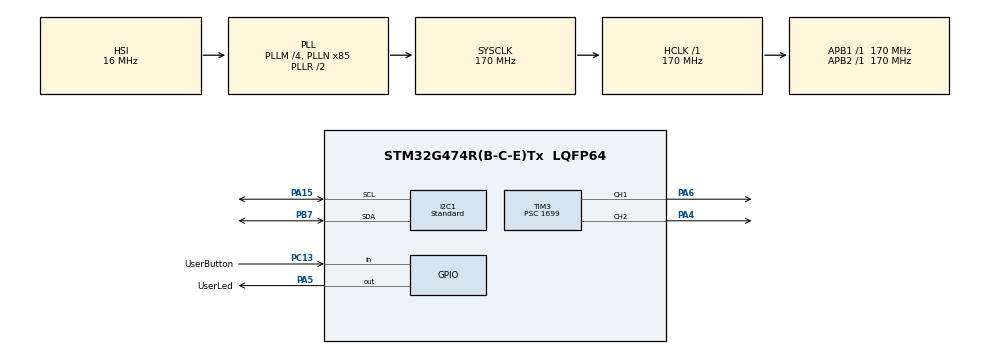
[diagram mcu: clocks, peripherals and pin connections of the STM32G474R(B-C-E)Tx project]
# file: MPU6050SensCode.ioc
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I2C1.I2C_Speed_Mode=I2C_Standard
I2C1.Timing=0x40B285C2
Mcu.Family=STM32G4
Mcu.Name=STM32G474R(B-C-E)Tx
Mcu.Package=LQFP64
NVIC.PriorityGroup=NVIC_PRIORITYGROUP_4
PA13.Mode=Serial_Wire
PA13.Signal=SYS_JTMS-SWDIO
PA14.Mode=Serial_Wire
PA14.Signal=SYS_JTCK-SWCLK
PA15.GPIO_Speed=GPIO_SPEED_FREQ_VERY_HIGH
PA15.Mode=I2C
PA15.Signal=I2C1_SCL
PA4.Signal=S_TIM3_CH2
PA5.GPIO_Label=UserLed
PA5.Signal=GPIO_Output
PA6.Signal=S_TIM3_CH1
PB7.GPIO_Speed=GPIO_SPEED_FREQ_VERY_HIGH
PB7.Mode=I2C
PB7.Signal=I2C1_SDA
PC13.GPIO_Label=UserButton
PC13.Signal=GPIO_Input
PC14-OSC32_IN.Mode=LSE-External-Oscillator
PC14-OSC32_IN.Signal=RCC_OSC32_IN
PC15-OSC32_OUT.Mode=LSE-External-Oscillator
PC15-OSC32_OUT.Signal=RCC_OSC32_OUT
PF0-OSC_IN.Mode=HSE-External-Oscillator
PF0-OSC_IN.Signal=RCC_OSC_IN
PF1-OSC_OUT.Mode=HSE-External-Oscillator
PF1-OSC_OUT.Signal=RCC_OSC_OUT
ProjectManager.HeapSize=0x200
ProjectManager.StackSize=0x400
ProjectManager.TargetToolchain=STM32CubeIDE
RCC.ADC12Freq_Value=170000000
RCC.ADC345Freq_Value=170000000
RCC.AHBFreq_Value=170000000
RCC.APB1Freq_Value=170000000
RCC.APB1TimFreq_Value=170000000
RCC.APB2Freq_Value=170000000
RCC.APB2TimFreq_Value=170000000
RCC.CortexFreq_Value=170000000
RCC.EXTERNAL_CLOCK_VALUE=12288000
RCC.HCLKFreq_Value=170000000
RCC.HSE_VALUE=8000000
RCC.HSI48_VALUE=48000000
RCC.HSI_VALUE=16000000
RCC.PLLM=RCC_PLLM_DIV4
RCC.PLLN=85
RCC.SYSCLKFreq_VALUE=170000000
RCC.SYSCLKSource=RCC_SYSCLKSOURCE_PLLCLK
RCC.USBFreq_Value=170000000
RCC.VCOOutputFreq_Value=340000000
SH.S_TIM3_CH1.0=TIM3_CH1,PWM Generation1 CH1
SH.S_TIM3_CH2.0=TIM3_CH2,PWM Generation2 CH2
TIM3.Channel-PWM\ Generation1\ CH1=TIM_CHANNEL_1
TIM3.Channel-PWM\ Generation2\ CH2=TIM_CHANNEL_2
TIM3.PeriodNoDither=1999
TIM3.Prescaler=1699
VP_SYS_VS_DBSignals.Mode=DisableDeadBatterySignals
VP_TIM3_VS_ClockSourceINT.Mode=Internal
board=custom

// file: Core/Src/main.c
/* USER CODE BEGIN Header */
/**
  ******************************************************************************
  * @file           : main.c
  * @brief          : Main program body
  ******************************************************************************
  * @attention
  *
  * Copyright (c) 2025 STMicroelectronics.
  * All rights reserved.
  *
  * This software is licensed under terms that can be found in the LICENSE file
  * in the root directory of this software component.
  * If no LICENSE file comes with this software, it is provided AS-IS.
  *
  ******************************************************************************
  */
/* USER CODE END Header */
#include "main.h"
#include "i2c.h"
#include "tim.h"
#include "gpio.h"

/* USER CODE BEGIN Includes */
#include "MPU_V2.1.h"
/* USER CODE END Includes */

/* USER CODE BEGIN PV */
Accel_Gyro MPU6050;
Temperature temp;

uint16_t MotorOneValue = 120;
uint16_t MotorTwoValue = 120;

float kp = 1.3;    // P
float ki = 0.0023;  // I
float kd = 0.002;    // D (örnek değerle başlıyoruz)

float setPoint = 0.0;
float error = 0.0;
float integral = 0.0;
float integralIn = 50;
float derivative = 0.0;
float lastError = 0.0;
float output = 0.0;

int16_t motorBaseSpeed = 110; // Dengede çalışılan sabit hız
float pitch = 0.0;

uint32_t TimeLed = 0;

uint16_t Motor1Max = 170;
uint16_t Motor1Min = 106;

uint16_t Motor2Max = 150;
uint16_t Motor2Min = 106;

uint32_t lastTime = 0;
uint32_t loopInterval = 10; // 10 ms

/* USER CODE END PV */

void SystemClock_Config(void);

int main(void)
{

  /* MCU Configuration--------------------------------------------------------*/

  /* Reset of all peripherals, Initializes the Flash interface and the Systick. */
  HAL_Init();

  /* Configure the system clock */
  SystemClock_Config();

  /* Initialize all configured peripherals */
  MX_GPIO_Init();
  MX_I2C1_Init();
  MX_TIM3_Init();
  /* USER CODE BEGIN 2 */
  MPU6050_Init(&MPU6050, FS_500, AFS_4G);

  HAL_TIM_PWM_Start(&htim3, TIM_CHANNEL_1);
  HAL_TIM_PWM_Start(&htim3, TIM_CHANNEL_2);

  /*
   * Motor Calib Ayarları
   */

  __HAL_TIM_SET_COMPARE(&htim3, TIM_CHANNEL_1, 200);
  __HAL_TIM_SET_COMPARE(&htim3, TIM_CHANNEL_2, 200);
  HAL_Delay(2000);
  __HAL_TIM_SET_COMPARE(&htim3, TIM_CHANNEL_1, 100);
  __HAL_TIM_SET_COMPARE(&htim3, TIM_CHANNEL_2, 100);
  HAL_Delay(2000);

  /* USER CODE END 2 */

  /* Infinite loop */
  while (1)
  {

    /* USER CODE BEGIN 3 */

	  if (HAL_GetTick() - lastTime >= loopInterval)
	  {
		   MPU6050_Start(&MPU6050, &temp);

		    error = setPoint - MPU6050.Pitch;
		    integral += error;

		    // Integral windup sınırı
		    if (integral > integralIn) integral = integralIn;
		    if (integral < -1 * integralIn) integral = -1 * integralIn;

		    // Derivative hesapla
		    derivative = error - lastError;
		    lastError = error;

		    // PID toplam çıkış
		    output = kp * error + ki * integral + kd * derivative;

		    MotorOneValue = motorBaseSpeed + output;
		    MotorTwoValue = motorBaseSpeed - output;

		    if (MotorOneValue > Motor1Max) MotorOneValue = Motor1Max;
		    if (MotorOneValue < Motor1Min) MotorOneValue = Motor1Min;

		    if (MotorTwoValue > Motor2Max) MotorTwoValue = Motor2Max;
		    if (MotorTwoValue < Motor2Min) MotorTwoValue = Motor2Min;

		    TIM3->CCR1 = MotorOneValue;
		    TIM3->CCR2 = MotorTwoValue;

		    if(uwTick - TimeLed > 500)
		    {
		    	HAL_GPIO_TogglePin(UserLed_GPIO_Port, UserLed_Pin);
		    	TimeLed = uwTick;
		    }

		    lastTime = HAL_GetTick();
	  }

  }
  /* USER CODE END 3 */
}

void SystemClock_Config(void)
{
  RCC_OscInitTypeDef RCC_OscInitStruct = {0};
  RCC_ClkInitTypeDef RCC_ClkInitStruct = {0};

  /** Configure the main internal regulator output voltage
  */
  HAL_PWREx_ControlVoltageScaling(PWR_REGULATOR_VOLTAGE_SCALE1_BOOST);

  /** Initializes the RCC Oscillators according to the specified parameters
  * in the RCC_OscInitTypeDef structure.
  */
  RCC_OscInitStruct.OscillatorType = RCC_OSCILLATORTYPE_HSI;
  RCC_OscInitStruct.HSIState = RCC_HSI_ON;
  RCC_OscInitStruct.HSICalibrationValue = RCC_HSICALIBRATION_DEFAULT;
  RCC_OscInitStruct.PLL.PLLState = RCC_PLL_ON;
  RCC_OscInitStruct.PLL.PLLSource = RCC_PLLSOURCE_HSI;
  RCC_OscInitStruct.PLL.PLLM = RCC_PLLM_DIV4;
  RCC_OscInitStruct.PLL.PLLN = 85;
  RCC_OscInitStruct.PLL.PLLP = RCC_PLLP_DIV2;
  RCC_OscInitStruct.PLL.PLLQ = RCC_PLLQ_DIV2;
  RCC_OscInitStruct.PLL.PLLR = RCC_PLLR_DIV2;
  if (HAL_RCC_OscConfig(&RCC_OscInitStruct) != HAL_OK)
  {
    Error_Handler();
  }

  /** Initializes the CPU, AHB and APB buses clocks
  */
  RCC_ClkInitStruct.ClockType = RCC_CLOCKTYPE_HCLK|RCC_CLOCKTYPE_SYSCLK
                              |RCC_CLOCKTYPE_PCLK1|RCC_CLOCKTYPE_PCLK2;
  RCC_ClkInitStruct.SYSCLKSource = RCC_SYSCLKSOURCE_PLLCLK;
  RCC_ClkInitStruct.AHBCLKDivider = RCC_SYSCLK_DIV1;
  RCC_ClkInitStruct.APB1CLKDivider = RCC_HCLK_DIV1;
  RCC_ClkInitStruct.APB2CLKDivider = RCC_HCLK_DIV1;

  if (HAL_RCC_ClockConfig(&RCC_ClkInitStruct, FLASH_LATENCY_4) != HAL_OK)
  {
    Error_Handler();
  }
}

void Error_Handler(void)
{
  __disable_irq();
  while (1)
  {
  }
}
